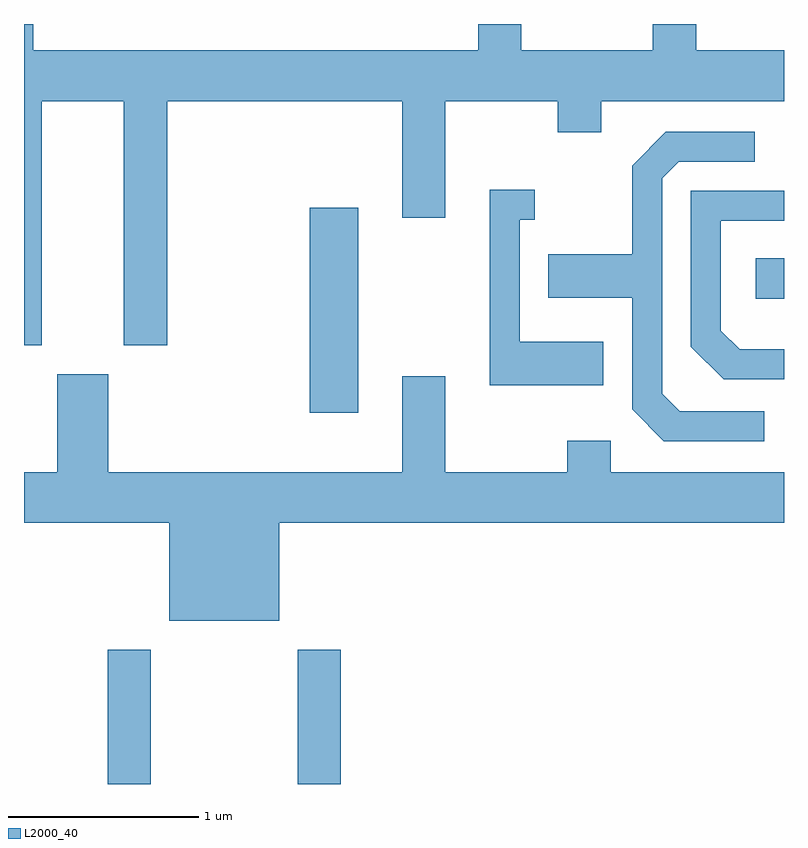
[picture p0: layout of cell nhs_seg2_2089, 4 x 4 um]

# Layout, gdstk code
import gdstk
lib = gdstk.Library(unit=1e-6, precision=1e-09)
def R(c, l, rs):  # rectangles x0, y0, x1, y1
    for r in rs: c.add(gdstk.rectangle(r[:2], r[2:], *l))
def P(c, l, *ps):  # polygons
    for p in ps: c.add(gdstk.Polygon(p, *l))
L2000_40 = (2000, 40)

nhs_seg2_2089 = lib.new_cell('nhs_seg2_2089')
R(nhs_seg2_2089, L2000_40, [(246.051,1075.802,246.279,1076.509), (247.051,1075.802,247.279,1076.509), (247.116,1077.756,247.369,1078.834), (249.461,1078.356,249.611,1078.569)])
P(nhs_seg2_2089, L2000_40, [(245.704,1079.396),(246.136,1079.396),(246.136,1078.111),(246.364,1078.111),(246.364,1079.396),(247.601,1079.396),(247.601,1078.781),(247.829,1078.781),(247.829,1079.396),(248.421,1079.396),(248.421,1079.231),(248.649,1079.231),(248.649,1079.396),(249.611,1079.396),(249.611,1079.664),(249.149,1079.664),(249.149,1079.802),(248.921,1079.802),(248.921,1079.664),(248.229,1079.664),(248.229,1079.802),(248.001,1079.802),(248.001,1079.664),(245.659,1079.664),(245.659,1079.802),(245.611,1079.802),(245.611,1078.111),(245.704,1078.111)],
  [(249.508,1077.764),(249.062,1077.764),(248.969,1077.857),(248.969,1078.989),(249.057,1079.076),(249.458,1079.076),(249.458,1079.234),(248.989,1079.234),(248.811,1079.057),(248.811,1078.589),(248.371,1078.589),(248.371,1078.361),(248.811,1078.361),(248.811,1077.774),(248.979,1077.606),(249.508,1077.606)],
  [(248.659,1078.129),(248.219,1078.129),(248.219,1078.771),(248.298,1078.771),(248.298,1078.929),(248.061,1078.929),(248.061,1077.901),(248.659,1077.901)],
  [(249.611,1078.089),(249.377,1078.089),(249.279,1078.187),(249.279,1078.766),(249.611,1078.766),(249.611,1078.924),(249.121,1078.924),(249.121,1078.104),(249.294,1077.931),(249.611,1077.931)],
  [(246.954,1077.176),(249.611,1077.176),(249.611,1077.444),(248.699,1077.444),(248.699,1077.609),(248.471,1077.609),(248.471,1077.444),(247.829,1077.444),(247.829,1077.949),(247.601,1077.949),(247.601,1077.444),(246.054,1077.444),(246.054,1077.959),(245.786,1077.959),(245.786,1077.444),(245.611,1077.444),(245.611,1077.176),(246.376,1077.176),(246.376,1076.661),(246.954,1076.661)])

lib.write_gds('nhs_seg2_2089.gds')
